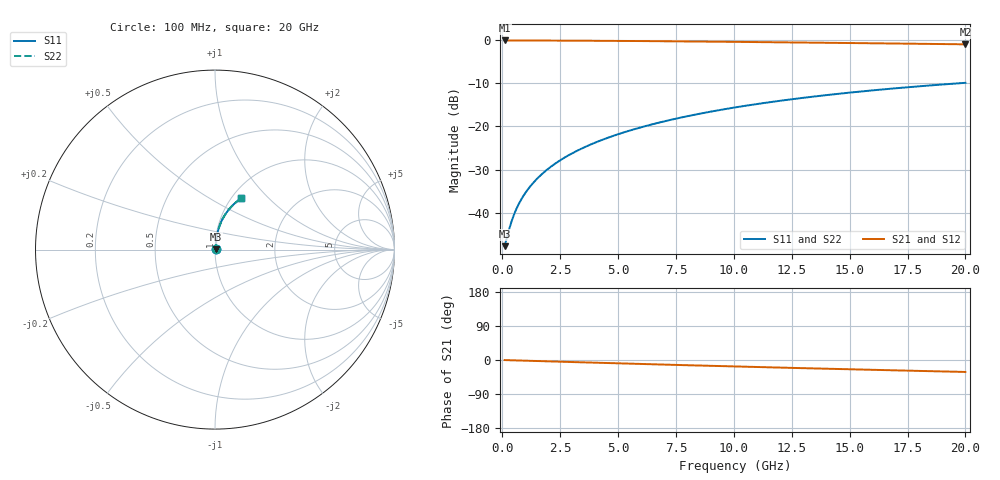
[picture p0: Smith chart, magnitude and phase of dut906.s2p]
! Touchstone file exported from HFSS 2024.1.0
!  File:  C:/UserFiles/LocalFiles/RDL_TSV_Batchsim/temp_RDL_top_906_1779935785.aedt
!  Generated:  10:39:30 AM May 28, 2026
!  Design:  RDL_top
!  Project:  temp_RDL_top_906_1779935785
!  Setup:  Setup1
!  Solution:  Sweep
! Variables:
!  dtsv = 10.80580581um
!  hbump = 3um
!  htsv = 96.03um
!  ldown = 100um
!  lrdl = 431.42um
!  p = 40
!  p1 = 40.69um
!  rhole = 1um
!  t = 450um
!  tdown = 3.915915916um
!  trdl = 2.57um
!  wdown = 15.38538539um
!  wrdl = 17.17um
# GHz S MA R 50.000000
! Terminal data exported
! Port[1] = Box2_T1
! Port[2] = Box2_T2
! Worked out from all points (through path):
!   200 points, 100 MHz to 20 GHz, reference 50 ohm
!   highest |S21| = -0.03 dB at 100 MHz (marker M1); lowest = -0.9 dB at 20 GHz (marker M2)
!   group delay of S21, straight-line fit = 4.37 ps
!   lowest |S11| = -47.8 dB at 100 MHz (marker M3), VSWR 1.01, Z = 50.4 + j0.176 ohm
!   |S11| at or under -10 dB: start of sweep to 19.65 GHz
!   |S22| runs from -47.8 to -9.9 dB; largest |S21 - S12| = 4e-15
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0.1  0.004077 25.4  0.9963 -0.2  0.9963 -0.2  0.004077 25.4
! Gamma 0 0 0 0
! Port Impedance 50 0 50 0
0.3  0.006454 53.2  0.9961 -0.6  0.9961 -0.6  0.006454 53.2
0.4  0.007904 59.6  0.996 -0.7  0.996 -0.7  0.007904 59.6
0.5  0.009396 64.0  0.9958 -0.9  0.9958 -0.9  0.009396 64.0
0.6  0.0109 67.1  0.9957 -1.1  0.9957 -1.1  0.0109 67.1
0.7  0.01242 69.5  0.9955 -1.3  0.9955 -1.3  0.01242 69.5
0.9  0.01546 72.8  0.9952 -1.6  0.9952 -1.6  0.01546 72.8
1.2  0.02006 76.1  0.9948 -2.2  0.9948 -2.2  0.02006 76.1
1.4  0.02315 77.5  0.9945 -2.5  0.9945 -2.5  0.02315 77.5
1.7  0.02783 79.1  0.9941 -3.1  0.9941 -3.1  0.02783 79.1
2.2  0.03572 80.7  0.9931 -3.9  0.9931 -3.9  0.03572 80.6
2.8  0.04529 81.6  0.9918 -5.0  0.9918 -5.0  0.04529 81.6
3.5  0.0566 82.1  0.9898 -6.2  0.9898 -6.2  0.05659 82.1
4.2  0.06803 82.2  0.9876 -7.4  0.9876 -7.4  0.06803 82.2
5  0.08124 81.9  0.9846 -8.8  0.9846 -8.8  0.08123 81.9
5.9  0.09626 81.4  0.9809 -10.3  0.9809 -10.3  0.09624 81.4
6.8  0.1114 80.6  0.9768 -11.8  0.9768 -11.8  0.1114 80.6
8.4  0.1384 78.9  0.9688 -14.4  0.9688 -14.4  0.1384 78.9
10.1  0.1671 76.8  0.9595 -17.1  0.9595 -17.1  0.1671 76.8
13.4  0.2216 72.3  0.9402 -22.2  0.9402 -22.2  0.2215 72.2
16.7  0.2732 67.5  0.9197 -27.0  0.9197 -27.0  0.2731 67.5
20  0.3211 62.9  0.8986 -31.5  0.8986 -31.5  0.321 62.8
